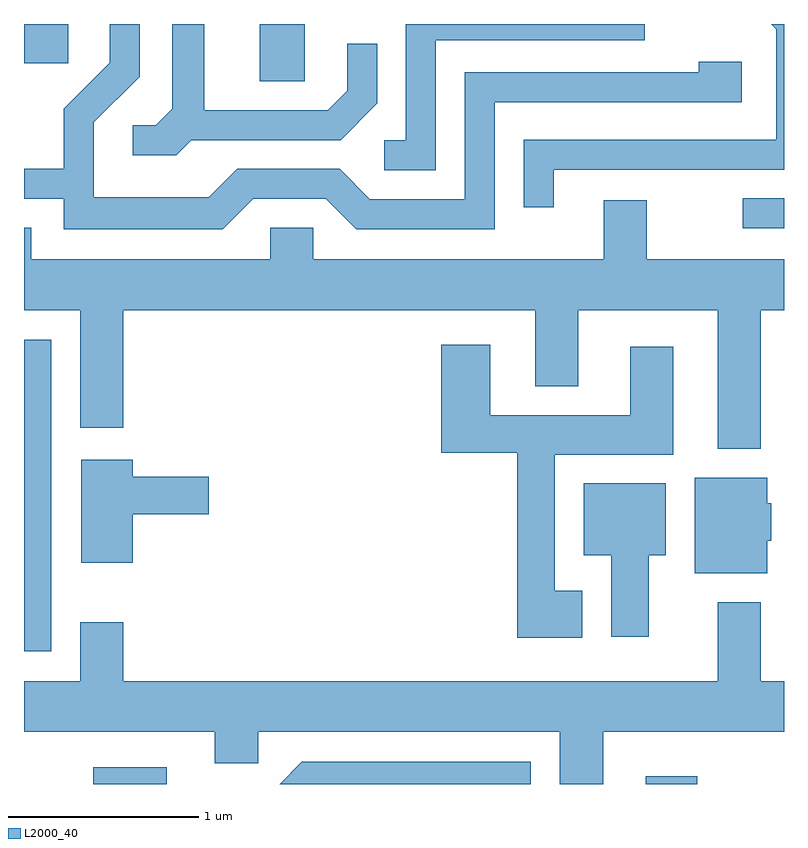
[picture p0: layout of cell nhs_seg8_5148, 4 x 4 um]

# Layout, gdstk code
import gdstk
lib = gdstk.Library(unit=1e-6, precision=1e-09)
def R(c, l, rs):  # rectangles x0, y0, x1, y1
    for r in rs: c.add(gdstk.rectangle(r[:2], r[2:], *l))
def P(c, l, *ps):  # polygons
    for p in ps: c.add(gdstk.Polygon(p, *l))
L2000_40 = (2000, 40)

nhs_seg8_5148 = lib.new_cell('nhs_seg8_5148')
R(nhs_seg8_5148, L2000_40, [(339.976,1858.342,340.363,1858.429), (342.883,1858.342,343.154,1858.384), (339.611,1859.041,339.754,1860.679), (343.393,1861.266,343.611,1861.424), (340.851,1862.041,341.089,1862.342), (339.611,1862.136,339.844,1862.342)])
P(nhs_seg8_5148, L2000_40, [(341.779,1862.256),(342.878,1862.256),(342.878,1862.342),(341.621,1862.342),(341.621,1861.729),(341.508,1861.729),(341.508,1861.571),(341.779,1861.571)],
  [(340.817,1861.421),(341.199,1861.421),(341.359,1861.261),(342.089,1861.261),(342.089,1861.931),(343.389,1861.931),(343.389,1862.144),(343.161,1862.144),(343.161,1862.089),(341.931,1862.089),(341.931,1861.419),(341.432,1861.419),(341.272,1861.579),(340.734,1861.579),(340.584,1861.429),(339.979,1861.429),(339.979,1861.824),(340.219,1862.064),(340.219,1862.342),(340.061,1862.342),(340.061,1862.137),(339.821,1861.897),(339.821,1861.579),(339.611,1861.579),(339.611,1861.421),(339.821,1861.421),(339.821,1861.261),(340.657,1861.261)],
  [(340.492,1861.731),(341.277,1861.731),(341.469,1861.924),(341.469,1862.238),(341.311,1862.238),(341.311,1861.992),(341.209,1861.889),(340.559,1861.889),(340.559,1862.342),(340.391,1862.342),(340.391,1861.897),(340.304,1861.809),(340.183,1861.809),(340.183,1861.651),(340.412,1861.651)],
  [(342.399,1861.576),(343.611,1861.576),(343.611,1862.342),(343.543,1862.342),(343.571,1862.314),(343.571,1861.734),(342.241,1861.734),(342.241,1861.378),(342.399,1861.378)],
  [(343.489,1860.836),(343.611,1860.836),(343.611,1861.104),(342.889,1861.104),(342.889,1861.414),(342.661,1861.414),(342.661,1861.104),(341.134,1861.104),(341.134,1861.269),(340.906,1861.269),(340.906,1861.104),(339.649,1861.104),(339.649,1861.269),(339.611,1861.269),(339.611,1860.836),(339.906,1860.836),(339.906,1860.216),(340.134,1860.216),(340.134,1860.836),(342.301,1860.836),(342.301,1860.436),(342.529,1860.436),(342.529,1860.836),(343.261,1860.836),(343.261,1860.106),(343.489,1860.106)],
  [(342.549,1859.359),(342.404,1859.359),(342.404,1860.076),(343.029,1860.076),(343.029,1860.644),(342.801,1860.644),(342.801,1860.284),(342.064,1860.284),(342.064,1860.654),(341.806,1860.654),(341.806,1860.086),(342.206,1860.086),(342.206,1859.111),(342.549,1859.111)],
  [(340.184,1859.761),(340.584,1859.761),(340.584,1859.959),(340.184,1859.959),(340.184,1860.049),(339.911,1860.049),(339.911,1859.506),(340.184,1859.506)],
  [(343.524,1859.621),(343.544,1859.621),(343.544,1859.819),(343.524,1859.819),(343.524,1859.954),(343.141,1859.954),(343.141,1859.451),(343.524,1859.451)],
  [(342.899,1859.546),(342.989,1859.546),(342.989,1859.924),(342.556,1859.924),(342.556,1859.546),(342.701,1859.546),(342.701,1859.116),(342.899,1859.116)],
  [(342.659,1858.616),(343.611,1858.616),(343.611,1858.884),(343.489,1858.884),(343.489,1859.299),(343.261,1859.299),(343.261,1858.884),(340.134,1858.884),(340.134,1859.194),(339.906,1859.194),(339.906,1858.884),(339.611,1858.884),(339.611,1858.616),(340.616,1858.616),(340.616,1858.451),(340.844,1858.451),(340.844,1858.616),(342.431,1858.616),(342.431,1858.342),(342.659,1858.342)],
  [(342.279,1858.459),(341.074,1858.459),(340.957,1858.342),(342.279,1858.342)])

lib.write_gds('nhs_seg8_5148.gds')
